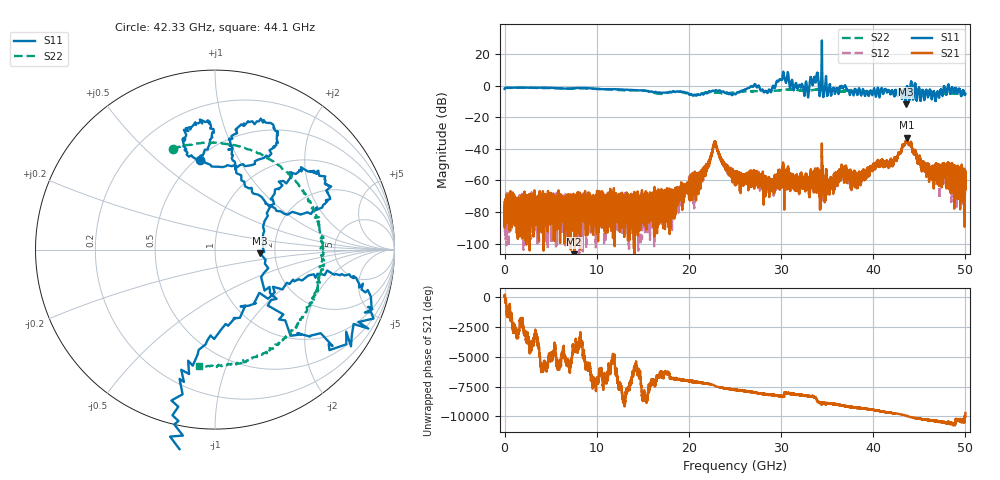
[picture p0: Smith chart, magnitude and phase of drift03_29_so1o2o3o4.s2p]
!Created with skrf (http://scikit-rf.org).
# Hz S RI R 50.0
!freq ReS11 ImS11 ReS21 ImS21 ReS12 ImS12 ReS22 ImS22
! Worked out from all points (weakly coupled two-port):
!   10000 points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, 5.3 MHz to 50 GHz, reference 50 ohm
!   highest |S21| = -32.94 dB at 43.67 GHz (marker M1); lowest = -110.8 dB at 7.56 GHz (marker M2)
!   lowest |S11| = -12.0 dB at 43.53 GHz (marker M3), VSWR 1.67, Z = 83.5 - j3.72 ohm
!   |S11| at or under -10 dB: 43.48578 GHz to 43.55658 GHz (70.8 MHz wide, 0.163 % of centre)
!   |S22| runs from -5.9 to -1.3 dB; largest |S21 - S12| = 0.0093
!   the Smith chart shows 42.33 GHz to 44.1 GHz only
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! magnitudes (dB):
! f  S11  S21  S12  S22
! 5.3 MHz  -2.1  -79.1  -74.9  -2.1
! 7.56 GHz  -1.7  -110.8  -92.3  -2.0
! 8.34 GHz  -1.5  -81.9  -75.2  -1.9
! 16.67 GHz  -4.4  -72.4  -73.1  -5.2
! 18.33 GHz  -3.5  -71.7  -70.5  -3.8
! 21.31 GHz  -5.3  -59.9  -55.7  -5.1
! 22.81 GHz  -3.5  -35.6  -35.4  -4.4
! 25.01 GHz  -5.5  -58.6  -57.4  -4.3
! 27.01 GHz  -0.5  -57.8  -56.3  -3.6
! 28.97 GHz  -3.4  -64.0  -63.6  -3.5
! 30.14 GHz  4.4  -54.4  -56.6  -2.8
! 32.74 GHz  2.0  -59.8  -59.1  -3.4
! 33.34 GHz  2.6  -54.7  -61.7  -2.9
! 33.82 GHz  3.9  -61.1  -58.5  -2.6
! 35 GHz  -6.2  -59.5  -62.3  -2.5
! 36.47 GHz  -0.5  -54.3  -56.0  -3.8
! 38.43 GHz  -1.9  -55.1  -55.8  -3.0
! 41.67 GHz  -3.1  -51.1  -50.3  -3.7
! 43.53 GHz  -12.0  -35.0  -35.5  -4.2
! 43.67 GHz  -0.9  -32.9  -33.6  -4.1
! 46.18 GHz  -2.8  -56.3  -55.0  -5.4
! 50 GHz  -5.3  -56.6  -58.1  -5.0
